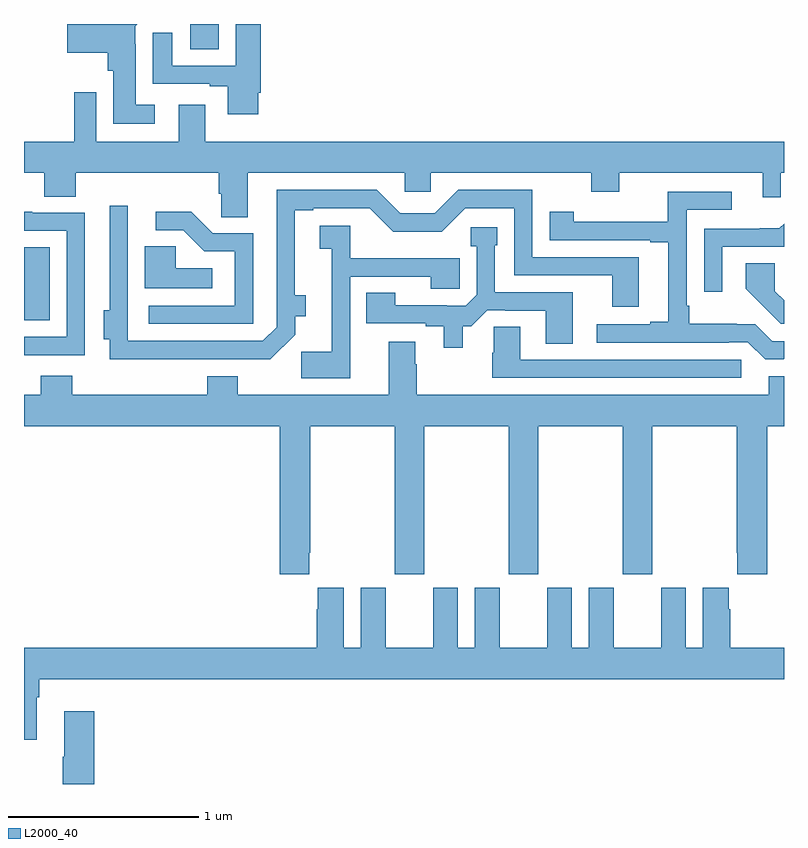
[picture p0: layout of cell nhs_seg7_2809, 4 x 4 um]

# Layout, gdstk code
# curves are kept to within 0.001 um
import gdstk
lib = gdstk.Library(unit=1e-6, precision=1e-09)
def R(c, l, rs):  # rectangles x0, y0, x1, y1
    for r in rs: c.add(gdstk.rectangle(r[:2], r[2:], *l))
def P(c, l, *ps):  # polygons
    for p in ps: c.add(gdstk.Polygon(p, *l))
L2000_40 = (2000, 40)

nhs_seg7_2809 = lib.new_cell('nhs_seg7_2809')
R(nhs_seg7_2809, L2000_40, [(291.875,1067.866,292.024,1068)])
P(nhs_seg7_2809, L2000_40, [(292.234,1067.638),(292.247,1067.638),(292.247,1068),(292.115,1068),(292.115,1067.781),(291.781,1067.781),(291.781,1067.953),(291.677,1067.953),(291.677,1067.685),(291.977,1067.685),(291.977,1067.673),(292.073,1067.673),(292.073,1067.526),(292.234,1067.526)],
  [(291.688,1067.575),(291.589,1067.575),(291.589,1067.894),(291.585,1067.894),(291.585,1067.988),(291.597,1068),(291.228,1068),(291.228,1067.849),(291.44,1067.849),(291.44,1067.754),(291.47,1067.754),(291.47,1067.474),(291.688,1067.474)],
  [(291.955,1067.575),(291.815,1067.575),(291.815,1067.38),(291.381,1067.38),(291.381,1067.641),(291.265,1067.641),(291.265,1067.38),(291,1067.38),(291,1067.216),(291.107,1067.216),(291.107,1067.092),(291.272,1067.092),(291.272,1067.216),(292.025,1067.216),(292.025,1067.107),(292.038,1067.107),(292.038,1066.984),(292.177,1066.984),(292.177,1067.216),(293.004,1067.216),(293.004,1067.118),(293.142,1067.118),(293.142,1067.216),(293.986,1067.216),(293.986,1067.117),(294.133,1067.117),(294.133,1067.216),(294.887,1067.216),(294.887,1067.087),(294.983,1067.087),(294.983,1067.216),(295,1067.216),(295,1067.38),(291.955,1067.38)],
  [(291.881,1066.236),(292.297,1066.235),(292.427,1066.364),(292.427,1066.463),(292.483,1066.463),(292.483,1066.573),(292.426,1066.573),(292.426,1067.019),(292.522,1067.019),(292.522,1067.031),(292.82,1067.031),(292.944,1066.907),(293.198,1066.907),(293.322,1067.031),(293.58,1067.031),(293.58,1066.677),(294.095,1066.677),(294.095,1066.512),(294.235,1066.512),(294.235,1066.773),(293.676,1066.773),(293.676,1067.127),(293.286,1067.127),(293.163,1067.004),(292.98,1067.004),(292.857,1067.127),(292.329,1067.127),(292.329,1066.404),(292.257,1066.332),(291.546,1066.332),(291.546,1067.044),(291.45,1067.044),(291.45,1066.493),(291.419,1066.493),(291.419,1066.34),(291.45,1066.34),(291.45,1066.235)],
  [(294.998,1066.239),(295,1066.239),(295,1066.329),(294.939,1066.329),(294.849,1066.419),(294.752,1066.419),(294.752,1066.423),(294.502,1066.423),(294.502,1066.516),(294.489,1066.516),(294.489,1067.022),(294.724,1067.022),(294.724,1067.118),(294.388,1067.118),(294.388,1066.96),(293.894,1066.96),(293.894,1067.011),(293.766,1067.011),(293.766,1066.863),(294.296,1066.863),(294.296,1066.851),(294.392,1066.851),(294.392,1066.432),(294.296,1066.432),(294.296,1066.419),(294.015,1066.419),(294.015,1066.323),(294.71,1066.323),(294.71,1066.326),(294.81,1066.326),(294.9,1066.236),(294.998,1066.236)],
  [(292.206,1066.899),(291.993,1066.899),(291.88,1067.012),(291.693,1067.012),(291.693,1066.914),(291.837,1066.914),(291.948,1066.803),(292.11,1066.803),(292.11,1066.518),(291.657,1066.518),(291.657,1066.422),(292.206,1066.422)],
  [(291.321,1067.007),(291.043,1067.007),(291.043,1067.011),(291,1067.011),(291,1066.911),(291.225,1066.911),(291.225,1066.353),(291,1066.353),(291,1066.257),(291.321,1066.257)],
  [(294.675,1066.827),(295,1066.827),(295,1066.948),(294.976,1066.924),(294.872,1066.924),(294.872,1066.923),(294.579,1066.923),(294.579,1066.59),(294.675,1066.59)],
  [(292.716,1066.671),(293.14,1066.671),(293.14,1066.606),(293.293,1066.606),(293.293,1066.767),(293.183,1066.767),(293.183,1066.768),(292.716,1066.768),(292.716,1066.939),(292.557,1066.939),(292.557,1066.818),(292.619,1066.818),(292.619,1066.275),(292.458,1066.275),(292.458,1066.136),(292.716,1066.136)],
  [(293.308,1066.41),(293.355,1066.41),(293.439,1066.494),(293.533,1066.494),(293.533,1066.491),(293.747,1066.491),(293.747,1066.318),(293.887,1066.318),(293.887,1066.587),(293.478,1066.587),(293.478,1066.836),(293.491,1066.836),(293.491,1066.929),(293.352,1066.929),(293.352,1066.831),(293.382,1066.831),(293.382,1066.575),(293.325,1066.518),(293.225,1066.518),(293.225,1066.521),(292.953,1066.521),(292.953,1066.586),(292.801,1066.586),(292.801,1066.425),(293.114,1066.425),(293.114,1066.41),(293.21,1066.41),(293.21,1066.296),(293.308,1066.296)],
  [(291.991,1066.714),(291.799,1066.714),(291.799,1066.829),(291.635,1066.829),(291.635,1066.61),(291.991,1066.61)],
  [(291.136,1066.826),(291.002,1066.826),(291.002,1066.732),(291,1066.732),(291,1066.442),(291.136,1066.442)],
  [(295,1066.546),(294.952,1066.594),(294.952,1066.742),(294.798,1066.742),(294.798,1066.606),(294.885,1066.519),(294.886,1066.519),(294.983,1066.422),(295,1066.422)],
  [(294.775,1066.233),(293.611,1066.233),(293.611,1066.406),(293.473,1066.406),(293.473,1066.269),(293.464,1066.269),(293.464,1066.137),(294.775,1066.137)],
  [(292.501,1065.217),(292.506,1065.217),(292.506,1065.884),(292.951,1065.884),(292.951,1065.105),(293.106,1065.105),(293.106,1065.884),(293.551,1065.884),(293.551,1065.105),(293.706,1065.105),(293.706,1065.884),(294.151,1065.884),(294.151,1065.105),(294.306,1065.105),(294.306,1065.884),(294.751,1065.884),(294.751,1065.217),(294.755,1065.217),(294.755,1065.105),(294.911,1065.105),(294.911,1065.884),(295,1065.884),(295,1066.146),(294.92,1066.146),(294.92,1066.048),(293.067,1066.048),(293.067,1066.208),(293.059,1066.208),(293.059,1066.327),(292.919,1066.327),(292.919,1066.048),(292.125,1066.048),(292.125,1066.147),(291.965,1066.147),(291.965,1066.048),(291.254,1066.048),(291.254,1066.15),(291.089,1066.15),(291.089,1066.048),(291,1066.048),(291,1065.884),(292.346,1065.884),(292.346,1065.105),(292.501,1065.105)],
  [(295,1064.716),(294.716,1064.716),(294.716,1064.921),(294.709,1064.921),(294.709,1065.034),(294.572,1065.034),(294.572,1064.716),(294.484,1064.716),(294.484,1065.034),(294.353,1065.034),(294.353,1064.716),(294.103,1064.716),(294.103,1065.034),(293.972,1065.034),(293.972,1064.716),(293.884,1064.716),(293.884,1065.034),(293.753,1065.034),(293.753,1064.716),(293.503,1064.716),(293.503,1065.034),(293.372,1065.034),(293.372,1064.716),(293.284,1064.716),(293.284,1065.034),(293.153,1065.034),(293.153,1064.716),(292.903,1064.716),(292.903,1065.034),(292.772,1065.034),(292.772,1064.716),(292.684,1064.716),(292.684,1065.034),(292.547,1065.034),(292.547,1064.921),(292.541,1064.921),(292.541,1064.716),(291,1064.716),(291,1064.232),(291.067,1064.232),(291.067,1064.456),(291.08,1064.456),(291.08,1064.552),(295,1064.552)],
  [(291.371,1064.383),(291.212,1064.383),(291.212,1064.144),(291.205,1064.144),(291.205,1064),(291.371,1064)])

lib.write_gds('nhs_seg7_2809.gds')
